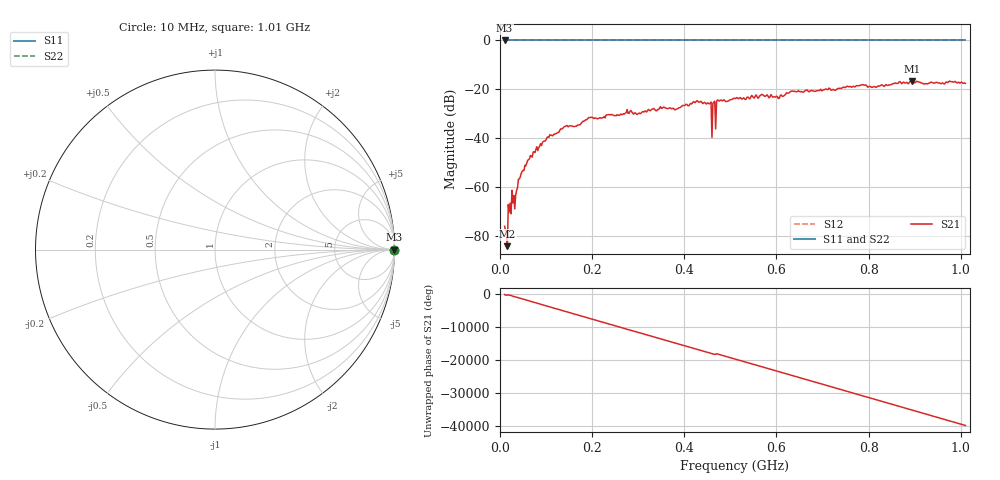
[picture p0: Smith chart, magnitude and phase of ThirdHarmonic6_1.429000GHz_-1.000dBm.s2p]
! 8/16/2025 4:28:24 PM
! C:\ANRITSUVNA\TEMP\TEMP.S2P
! CHANNEL.1
! TR.MEASUREMENT
! RAW.DATA
! RF.CORRECTION.OFF
! AVERAGING.OFF
! IF.BANDWIDTH: 5KHZ
! SWEEPTYPE:  FREQ.SWEEP(Linear)
! Reference Plane Port Info
! PORT:  PORT1  PORT2
! DISTANCE:  0  m  0  m
! TIME:  0  s  0  s
! PHASE.OFFSET:  0  deg.  0  deg.
! LOSS:  0  dB  0  dB
! REF.LOSS:  0  dB  0  dB
! REF.FREQ:  0  Hz  0  Hz
! Power Info
! POWER:  -20  dBm  -20  dBm
! EFF.POWER:  -20  dBm  -20  dBm
! SOURCE.ATTEN:  0  dB  0  dB
! TEST.ATTEN:  0  dB  0  dB
# GHZ S RI R 50.0
! FREQ.GHZ  S11RE  S11IM  S21RE  S21IM  S12RE  S12IM  S22RE  S22IM
!; PortSelection: Port_12
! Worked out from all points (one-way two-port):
!   501 points, 10 MHz to 1.01 GHz, reference 50 ohm
!   highest |S21| = -16.64 dB at 894 MHz (marker M1); lowest = -84.3 dB at 16 MHz (marker M2)
!   lowest |S11| = 0.0 dB at 10 MHz (marker M3)
!   |S11| at or under -10 dB: nowhere
!   |S22| runs from 0.0 to 0.0 dB; largest |S21 - S12| = 1.1
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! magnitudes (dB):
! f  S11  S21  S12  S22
! 10 MHz  0.0  -76.1  0.0  0.0
! 16 MHz  0.0  -84.3  0.0  0.0
! 22 MHz  0.0  -66.7  0.0  0.0
! 32 MHz  0.0  -69.0  0.0  0.0
! 44 MHz  0.0  -55.9  0.0  0.0
! 76 MHz  0.0  -45.9  0.0  0.0
! 142 MHz  0.0  -35.3  0.0  0.0
! 178 MHz  0.0  -33.5  0.0  0.0
! 344 MHz  0.0  -28.3  0.0  0.0
! 432 MHz  0.0  -25.3  0.0  0.0
! 454 MHz  0.0  -26.0  0.0  0.0
! 456 MHz  0.0  -25.8  0.0  0.0
! 462 MHz  0.0  -25.7  0.0  0.0
! 464 MHz  0.0  -25.3  0.0  0.0
! 466 MHz  0.0  -24.9  0.0  0.0
! 472 MHz  0.0  -24.4  0.0  0.0
! 474 MHz  0.0  -24.6  0.0  0.0
! 510 MHz  0.0  -23.8  0.0  0.0
! 678 MHz  0.0  -20.6  0.0  0.0
! 844 MHz  0.0  -18.2  0.0  0.0
! 894 MHz  0.0  -16.6  0.0  0.0
! 1.01 GHz  0.0  -17.6  0.0  0.0
